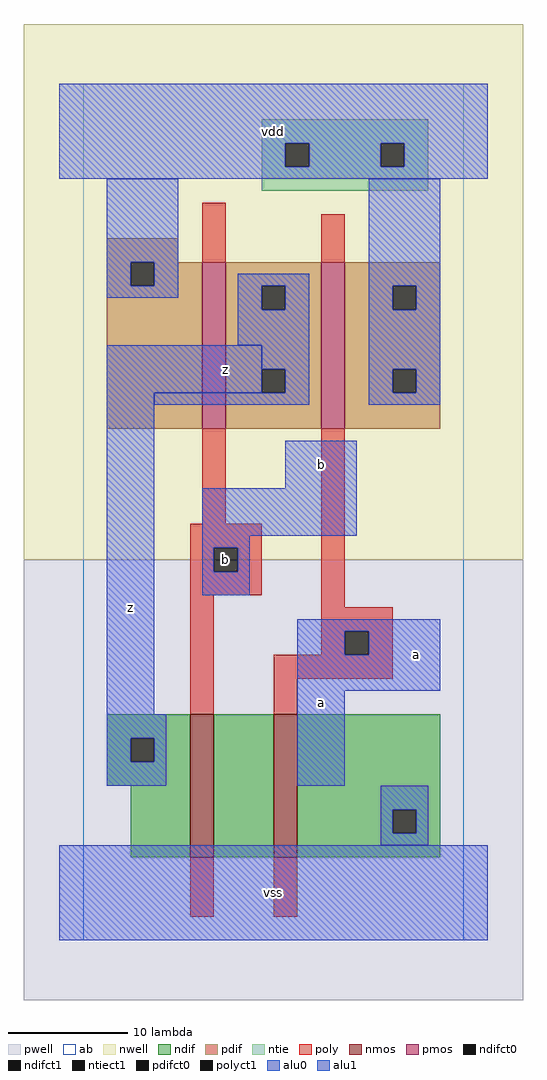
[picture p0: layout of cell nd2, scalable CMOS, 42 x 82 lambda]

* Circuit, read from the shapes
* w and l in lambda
.subckt nd2 a b vdd vss z
M1 n1 b z VSUBS nfet w=12 l=2
M2 vss a n1 VSUBS nfet w=12 l=2
M3 z b vdd vdd pfet w=14 l=2
M4 vdd a z vdd pfet w=14 l=2
.ends

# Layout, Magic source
magic
tech scmos
<< ab >>
rect 0 0 32 72
<< nwell >>
rect -5 32 37 77
<< pwell >>
rect -5 -5 37 32
<< poly >>
rect 10 57 12 62
rect 20 57 22 61
rect 10 35 12 43
rect 9 33 15 35
rect 9 31 11 33
rect 13 31 15 33
rect 9 29 15 31
rect 9 19 11 29
rect 20 28 22 43
rect 20 26 26 28
rect 20 24 22 26
rect 24 24 26 26
rect 16 22 26 24
rect 16 19 18 22
rect 9 2 11 7
rect 16 2 18 7
<< ndif >>
rect 2 17 9 19
rect 2 15 4 17
rect 6 15 9 17
rect 2 13 9 15
rect 4 7 9 13
rect 11 7 16 19
rect 18 11 30 19
rect 18 9 26 11
rect 28 9 30 11
rect 18 7 30 9
<< pdif >>
rect 2 57 8 59
rect 2 55 4 57
rect 6 55 10 57
rect 2 43 10 55
rect 12 55 20 57
rect 12 53 15 55
rect 17 53 20 55
rect 12 48 20 53
rect 12 46 15 48
rect 17 46 20 48
rect 12 43 20 46
rect 22 55 30 57
rect 22 53 26 55
rect 28 53 30 55
rect 22 48 30 53
rect 22 46 26 48
rect 28 46 30 48
rect 22 43 30 46
<< alu1 >>
rect -2 67 34 72
rect -2 65 17 67
rect 19 65 25 67
rect 27 65 34 67
rect -2 64 34 65
rect 2 46 15 50
rect 2 19 6 46
rect 17 38 23 42
rect 10 34 23 38
rect 10 33 14 34
rect 10 31 11 33
rect 13 31 14 33
rect 10 29 14 31
rect 18 26 30 27
rect 18 24 22 26
rect 24 24 30 26
rect 18 21 30 24
rect 2 17 7 19
rect 2 15 4 17
rect 6 15 7 17
rect 2 13 7 15
rect 18 13 22 21
rect -2 0 34 8
<< ntie >>
rect 15 67 29 69
rect 15 65 17 67
rect 19 65 25 67
rect 27 65 29 67
rect 15 63 29 65
<< nmos >>
rect 9 7 11 19
rect 16 7 18 19
<< pmos >>
rect 10 43 12 57
rect 20 43 22 57
<< polyct1 >>
rect 11 31 13 33
rect 22 24 24 26
<< ndifct0 >>
rect 26 9 28 11
<< ndifct1 >>
rect 4 15 6 17
<< ntiect1 >>
rect 17 65 19 67
rect 25 65 27 67
<< pdifct0 >>
rect 4 55 6 57
rect 15 53 17 55
rect 15 46 17 48
rect 26 53 28 55
rect 26 46 28 48
<< alu0 >>
rect 2 57 8 64
rect 2 55 4 57
rect 6 55 8 57
rect 2 54 8 55
rect 13 55 19 56
rect 13 53 15 55
rect 17 53 19 55
rect 13 50 19 53
rect 15 48 19 50
rect 17 46 19 48
rect 6 45 19 46
rect 24 55 30 64
rect 24 53 26 55
rect 28 53 30 55
rect 24 48 30 53
rect 24 46 26 48
rect 28 46 30 48
rect 24 45 30 46
rect 25 11 29 13
rect 25 9 26 11
rect 28 9 29 11
rect 25 8 29 9
<< labels >>
rlabel alu1 4 28 4 28 6 z
rlabel polyct1 12 32 12 32 6 b
rlabel alu1 12 48 12 48 6 z
rlabel alu1 16 4 16 4 6 vss
rlabel alu1 20 20 20 20 6 a
rlabel alu1 20 40 20 40 6 b
rlabel alu1 16 68 16 68 6 vdd
rlabel alu1 28 24 28 24 6 a
<< end >>
